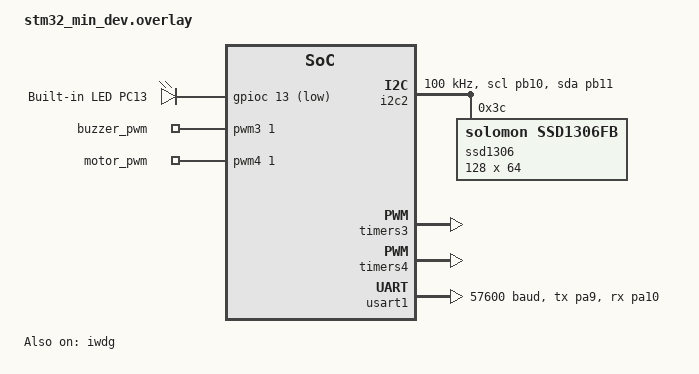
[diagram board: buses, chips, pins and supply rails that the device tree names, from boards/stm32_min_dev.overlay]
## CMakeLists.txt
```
cmake_minimum_required(VERSION 3.20.0)
find_package(Zephyr REQUIRED HINTS $ENV{ZEPHYR_BASE})
project(glove_stm32)

target_include_directories(app PRIVATE
    ${CMAKE_CURRENT_SOURCE_DIR}/include
    ${CMAKE_CURRENT_SOURCE_DIR}/../common/include
)

target_sources(app PRIVATE
    src/main.c
    src/adc_sensor.c
    src/haptic.c
    src/uart_esp32.c
    ../common/src/frame_protocol.c
)

target_compile_definitions(app PRIVATE
    FRAME_SECURE_TX_ID=0x53U  # 'S' = STM32
    FRAME_SECURE_RX_ID=0x45U  # 'E' = ESP32
)
```

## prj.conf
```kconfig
# ===========================================================================
# GloveAssist STM32 - prj.conf
# Board:  stm32_min_dev@blue (STM32F103C8 "Blue Pill")
# Role:   Sensor + Actuator Hub
# ===========================================================================
#
# Phase 1  <- DONE: ADC (4 flex sensors) + UART TX to ESP32
# Phase 2  <- ACTIVE: Heartbeat + CMD RX handler
# Phase 4  <- ACTIVE: OLED SSD1306 I2C2 (PB10/PB11)
# Phase 5  <- ACTIVE: Passive buzzer PWM TIM3_CH1 (PB4) + Motor PWM TIM4_CH1 (PB6)
# Phase 8  : NVS calibration storage
#

# Kernel
CONFIG_MULTITHREADING=y
CONFIG_MAIN_STACK_SIZE=3072
CONFIG_IDLE_STACK_SIZE=256

# GPIO (LED PC13)
CONFIG_GPIO=y

# Hardware watchdog - STM32 IWDG, fed by the main health loop.
CONFIG_WATCHDOG=y

# ADC - disabled: ADC1 is owned by the app via direct register writes
# CONFIG_ADC is not set

# UART - ESP32 communication USART1 (PA9 TX / PA10 RX)
CONFIG_SERIAL=y
CONFIG_UART_INTERRUPT_DRIVEN=y

# I2C - SSD1306 OLED on I2C2 (PB10/PB11)
CONFIG_I2C=y

# Display - SSD1306 OLED driver
CONFIG_DISPLAY=y
CONFIG_SSD1306=y

# PWM - Motor vibratii TIM4_CH1 (PB6)
CONFIG_PWM=y
CONFIG_PWM_STM32=y

# Logging
# USART1 is reserved for ESP32 comm so no UART console backend.
CONFIG_LOG=y
CONFIG_LOG_DEFAULT_LEVEL=2
CONFIG_LOG_MODE_MINIMAL=y
CONFIG_CONSOLE=n
CONFIG_UART_CONSOLE=n
CONFIG_EARLY_CONSOLE=n

# Size optimizations
CONFIG_CBPRINTF_NANO=y
CONFIG_CBPRINTF_COMPLETE=n
CONFIG_SIZE_OPTIMIZATIONS=y
CONFIG_BOOT_BANNER=n
CONFIG_THREAD_NAME=n
CONFIG_ASSERT=n
CONFIG_DEBUG=n
```

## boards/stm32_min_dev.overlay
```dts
/*
 * GloveAssist STM32 Board Overlay
 * Board: stm32_min_dev (STM32F103C8 "Blue Pill")
 *
 * Phase 1 active:
 *   PA0-PA3:  ADC1 channels 0-3 (4 flex sensors)
 *   PA9/PA10: USART1 TX/RX <-> ESP32 UART2 GPIO16/GPIO17
 *   PC13:     Built-in LED (active low)
 * Phase 4 active:
 *   PB10/PB11: I2C2 SCL/SDA -> SSD1306 OLED 128x64 (0x3C)
 * Phase 5 active:
 *   PB4:  Buzzer pasiv (TIM3_CH1 PWM)
 *   PB6:  Motor vibratii (TIM4_CH1 PWM)
 */

#include <zephyr/dt-bindings/pinctrl/stm32f1-pinctrl.h>

/* Keep Phase 1 tight: only ADC1, USART1, GPIO LED are active. */
&usart2 {
	status = "disabled";
};

&usart3 {
	status = "disabled";
};

&i2c1 {
	status = "disabled";
};

/* Phase 4: I2C2 for SSD1306 OLED on PB10(SCL)/PB11(SDA) */
&i2c2 {
	status = "okay";
	pinctrl-0 = <&i2c2_scl_pb10 &i2c2_sda_pb11>;
	pinctrl-names = "default";
	clock-frequency = <I2C_BITRATE_STANDARD>;

	ssd1306: ssd1306@3c {
		compatible = "solomon,ssd1306fb", "solomon,ssd1306";
		reg = <0x3c>;
		width = <128>;
		height = <64>;
		segment-offset = <0>;
		page-offset = <0>;
		display-offset = <0>;
		multiplex-ratio = <63>;
		prechargep = <0x22>;
	};
};

&spi1 {
	status = "disabled";
};

&spi2 {
	status = "disabled";
};

&usb {
	status = "disabled";
};

&timers1 {
	status = "disabled";
};

&iwdg {
	status = "okay";
};

/* Phase 5: TIM4 CH1 for motor vibratii PWM on PB6
 * Prescaler 7 → TIM4 runs at 8 MHz / 8 = 1 MHz.
 * period_ns = 1 000 000 → ARR = 999 → 1 kHz PWM with 1000-step resolution.
 * (Old value 7999 gave 1 kHz tick → ARR = 0 → duty always 0 → motor dead) */
&timers3 {
	status = "okay";
	st,prescaler = <7>;

	pwm3: pwm {
		status = "okay";
		pinctrl-0 = <&glove_tim3_ch1_pwm_out_pb4>;
		pinctrl-names = "default";
		#pwm-cells = <3>;
	};
};

&timers4 {
	status = "okay";
	st,prescaler = <7>;  /* 8MHz / 8 = 1 MHz tick → 1 kHz PWM w/ 1000 steps */

	pwm4: pwm {
		status = "okay";
		pinctrl-0 = <&tim4_ch1_pwm_out_pb6>;
		pinctrl-names = "default";
		#pwm-cells = <3>;
	};
};

/* Most STM32F103C8 Blue Pill boards expose 128 KB flash in practice. */
&flash0 {
	reg = <0x08000000 0x20000>;
};

/* Keep SWD for flashing/debugging, release JTAG pins. */
&pinctrl {
	swj-cfg = "jtag-disable";

	glove_tim3_ch1_pwm_out_pb4: glove_tim3_ch1_pwm_out_pb4 {
		pinmux = <STM32F1_PINMUX('B', 4, ALTERNATE, TIM3_REMAP2)>;
	};
};

/*
 * Many Blue Pill clones (AliExpress STM32F103C8T6) have no HSE crystal
 * populated (Y1 pads empty).  The Zephyr clock driver waits forever for
 * HSERDY, blocking all peripheral init.
 *
 * Fix: disable HSE and PLL, run the system on the internal HSI RC at 8 MHz.
 * USART1 is configured at 57600 baud below; HSI gives enough timing margin
 * for the inter-MCU UART in this prototype.
 */
&clk_hse {
	status = "disabled";
};

&pll {
	status = "disabled";
};

&rcc {
	clocks = <&clk_hsi>;
	clock-frequency = <DT_FREQ_M(8)>;
	apb1-prescaler = <1>;
	apb2-prescaler = <1>;
};

/ {
	aliases {
		led0    = &led_builtin;
		watchdog0 = &iwdg;
		pwm-buzz = &buzzer_pwm;
		pwm-mot = &motor_pwm;  /* must point to pwm consumer, not controller */
	};

	leds {
		compatible = "gpio-leds";

		led_builtin: led_0 {
			gpios = <&gpioc 13 GPIO_ACTIVE_LOW>;
			label = "Built-in LED PC13";
		};
	};

	/* PWM consumer nodes: TIM3_CH1 PB4 buzzer, TIM4_CH1 PB6 motor. */
	haptic_pwms {
		compatible = "pwm-leds";
		buzzer_pwm: buzzer_0 {
			/* channel 1 = TIM3_CH1 on PB4, period is overwritten at runtime */
			pwms = <&pwm3 1 1000000 0>;
		};

		motor_pwm: motor_0 {
			/* channel 1 = TIM4_CH1 (Zephyr pwm_stm32 uses 1-indexed channels 1-4)
			 * period = 1 000 000 ns = 1 ms = 1 kHz, normal polarity */
			pwms = <&pwm4 1 1000000 0>;
		};
	};

};

/*
 * ADC1 is owned exclusively by the application via direct register writes
 * (DMA1 Channel1, circular mode).  Disabling the Zephyr ADC driver node
 * prevents any driver conflict.  PA0-PA3 are configured as analog inputs
 * at runtime by clearing GPIOA->CRL bits [15:0].
 */
&adc1 {
	status = "disabled";
};

&usart1 {
	status = "okay";
	current-speed = <57600>;
	pinctrl-0 = <&usart1_tx_pa9 &usart1_rx_pa10>;
	pinctrl-names = "default";
};
```

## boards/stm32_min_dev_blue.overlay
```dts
/*
 * stm32_min_dev_blue.overlay - Blue Pill variant specifics
 *
 * Adds NVS flash storage partition (last 2 KB of 128 KB flash).
 * Used from Phase 8 onwards for calibration data persistence.
 */

&flash0 {
	reg = <0x08000000 0x20000>;

	partitions {
		compatible = "fixed-partitions";
		#address-cells = <1>;
		#size-cells = <1>;

		/* 2 x 1 KB pages at 0x0801F800-0x0801FFFF */
		storage_partition: partition@1f800 {
			label = "storage";
			reg = <0x0001f800 0x00000800>;
		};
	};
};
```

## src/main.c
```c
/*
 * GloveAssist STM32 — sensor hub main entry point.
 *
 * Role: sensor hub only (ESP32 = brain, STM32 = sensor hub).
 *
 *   PA0..PA3  -> ADC1 DMA circular -> 4 flex sensor values
 *   PA9/PA10  -> USART1 TX/RX <-> ESP32 UART2 (GPIO16/GPIO17)
 *   PC13      -> Built-in LED (active LOW)
 *   PB10/PB11 -> I2C2 SCL/SDA -> SSD1306 OLED 0x3C
 *   PB4       -> TIM3_CH1 PWM -> Passive buzzer (transistor driver)
 *   PB6       -> TIM4_CH1 PWM -> Motor vibration (ULN2003)
 *
 * All actuator logic lives in haptic.c.
 * All UART framing lives in uart_esp32.c.
 * All ADC/DMA init lives in adc_sensor.c.
 */

#include <zephyr/kernel.h>
#include <zephyr/device.h>
#include <zephyr/drivers/watchdog.h>
#include <stdio.h>
#include <string.h>

#include "frame_protocol.h"
#include "adc_sensor.h"
#include "haptic.h"
#include "uart_esp32.h"

/* -- Timing ------------------------------------------------------------ */
#define TX_PERIOD_MS      20U     /* sensor frame TX period (50 Hz)   */
#define HB_PERIOD_MS      500U    /* heartbeat TX period               */
#define LINK_TIMEOUT_MS  3000U    /* no ACK for 3 s -> local warning */
#define LINK_BOOT_GRACE_MS 6000U  /* wait for ESP32 session after reset */
#define DIAG_PERIOD_MS   10000U   /* OLED RX diagnostics period       */
#define FAULT_STATUS_PERIOD_MS 1000U /* report active sensor faults     */
#define WDT_TIMEOUT_MS   2000U    /* FR-009: hardware reset after 2 s */
#define WDT_FEED_MS       500U    /* feed only after the health loop  */

/* -- Link state -------------------------------------------------------- */
typedef enum {
    LINK_NORMAL,
    LINK_UART_LOST,
} link_state_t;

/* ── Module-level state ───────────────────────────────────────────────── */
static uint8_t      s_seq;
static uint8_t      s_hb_seq;
static uint8_t      s_status_seq;
static uint32_t     s_last_sensor_tx;
static uint32_t     s_last_hb_tx;
static uint32_t     s_last_ack_time;
static uint32_t     s_boot_time;
static uint32_t     s_last_diag_tx;
static uint32_t     s_last_fault_status_tx;
static uint32_t     s_last_wdt_feed;
static link_state_t s_link_state = LINK_NORMAL;
static adc_sensor_fault_status_t s_adc_fault;
static const struct device *const s_wdt = DEVICE_DT_GET(DT_ALIAS(watchdog0));
static int s_wdt_channel_id = -1;

/* ── Frame TX helpers ─────────────────────────────────────────────────── */
static void send_sensor_frame(const uint16_t adc[ADC_NUM_CHANNELS])
{
    uint8_t      payload[FRAME_PAYLOAD_LEN] = {0U};
    frame_hmac_t frame;

    frame_make_sensor_payload(payload, adc[0], adc[1], adc[2], adc[3]);
    if (frame_build_hmac(&frame, (uint8_t)FRAME_TYPE_SENSOR_RAW, s_seq++, payload) == 0) {
        uart_esp32_send_hmac_frame(&frame);
    }
}

static void send_heartbeat(void)
{
    uint8_t      payload[FRAME_PAYLOAD_LEN] = {0U};
    frame_hmac_t frame;

    if (frame_build_hmac(&frame, (uint8_t)FRAME_TYPE_HEARTBEAT, s_hb_seq++, payload) == 0) {
        uart_esp32_send_hmac_frame(&frame);
    }
}

static void send_sensor_fault_status(void)
{
    uint8_t      payload[FRAME_PAYLOAD_LEN] = {0U};
    frame_hmac_t frame;

    payload[0] = (uint8_t)STATUS_ERR;
    payload[1] = s_adc_fault.active_mask;
    payload[2] = s_adc_fault.low_mask;
    payload[3] = s_adc_fault.high_mask;

    if (frame_build_hmac(&frame, (uint8_t)FRAME_TYPE_STATUS, s_status_seq++, payload) == 0) {
        uart_esp32_send_hmac_frame(&frame);
    }
}

static void format_sensor_fault_line(char *buf, size_t len)
{
    size_t pos = 0U;
    bool has_low;
    bool has_high;
    int n;

    if ((buf == NULL) || (len == 0U)) {
        return;
    }

    n = snprintf(buf, len, "S");
    if (n > 0) {
        pos = (size_t)n;
    }

    for (uint8_t i = 0U; i < ADC_NUM_CHANNELS; i++) {
        if ((s_adc_fault.active_mask & (uint8_t)(1U << i)) != 0U) {
            if (pos < len) {
                n = snprintf(&buf[pos], len - pos, "%u", (unsigned)(i + 1U));
                if (n > 0) {
                    pos += (size_t)n;
                }
            }
        }
    }

    has_low = (s_adc_fault.low_mask != 0U);
    has_high = (s_adc_fault.high_mask != 0U);
    if (pos < len) {
        if (has_low && has_high) {
            (void)snprintf(&buf[pos], len - pos, " MIX");
        } else if (has_low) {
            (void)snprintf(&buf[pos], len - pos, " LOW");
        } else if (has_high) {
            (void)snprintf(&buf[pos], len - pos, " HIGH");
        }
    }
}

static void show_sensor_fault(void)
{
    char line[16];

    format_sensor_fault_line(line, sizeof(line));
    haptic_post_oled_show("ADC FAULT", line);
}

/* -- Secure UART session handshake ------------------------------------ */
static void tick_session(uint32_t now)
{
    uint32_t nonce;

    if (!uart_esp32_poll_session_hello(&nonce)) {
        return;
    }

    frame_secure_set_session(nonce);
    s_seq            = 0U;
    s_hb_seq         = 0U;
    s_status_seq     = 0U;
    s_link_state     = LINK_NORMAL;
    s_last_sensor_tx = now;
    s_last_hb_tx     = now;
    s_last_ack_time  = now;
    s_last_fault_status_tx = now - FAULT_STATUS_PERIOD_MS;

    haptic_led_set(false);
    if (s_adc_fault.active_mask != 0U) {
        show_sensor_fault();
    } else {
        haptic_post_oled_show("GloveAssist", "Activ");
    }
    uart_esp32_send_session_ack(nonce);
}

/* -- CMD dispatcher: enqueue actuator work, never block the main loop. -- */
static void handle_cmd(const frame_t *f)
{
    switch ((cmd_type_t)f->payload[0]) {

    case CMD_CAREGIVER_ACK:
        /* payload[1] carries the gesture_id that the caregiver is responding to */
        haptic_post_caregiver_ack(f->payload[1]);
        break;

    case CMD_HAPTIC_BUZZ: {
        uint32_t dur = (uint32_t)f->payload[1] * 10U;
        haptic_post_buzzer_beep(1U, (dur > 0U) ? dur : 100U, 0U);
        break;
    }

    case CMD_HAPTIC_VIBRATE: {
        uint32_t dur = (uint32_t)f->payload[1] * 10U;
        haptic_post_motor_pulse(75U, (dur > 0U) ? dur : 150U);
        break;
    }

    case CMD_OLED_TEXT: {
        char text[9] = {0};
        (void)memcpy(text, &f->payload[2], 6U);
        haptic_post_oled_show(text, "GloveAssist");
        break;
    }

    case CMD_GESTURE_FEEDBACK: {
        haptic_post_gesture_feedback(f->payload[1]);
        break;
    }

    case CMD_LED_ACK: {
        uint8_t n = (f->payload[1] > 0U) ? f->payload[1] : 1U;
        haptic_post_led_ack(n);
        break;
    }

    case CMD_OLED_CALIB:
        haptic_post_oled_calib_show(f->payload[1], f->payload[2],
                                    f->payload[3], f->payload[4],
                                    f->payload[5]);
        break;

    case CMD_CALIBRATE:
        haptic_post_oled_show("Calibrare...", "");
        break;

    default:
        break;
    }
}

/* ── Link watchdog helpers ────────────────────────────────────────────── */

static link_state_t handle_uart_lost(uint32_t now)
{
    haptic_led_set(((now % 500U) < 250U));
    return LINK_UART_LOST;
}

static void tick_sensor_tx(uint32_t now, const uint16_t adc[ADC_NUM_CHANNELS])
{
    if (!frame_secure_session_ready()
        || (s_link_state != LINK_NORMAL)
        || (s_adc_fault.active_mask != 0U)
        || ((now - s_last_sensor_tx) < TX_PERIOD_MS)) {
        return;
    }
    s_last_sensor_tx = now;
    send_sensor_frame(adc);
}

static void tick_sensor_fault(uint32_t now, const uint16_t adc[ADC_NUM_CHANNELS])
{
    bool changed = adc_sensor_fault_update(adc, &s_adc_fault);

    if (changed) {
        if (s_adc_fault.active_mask != 0U) {
            show_sensor_fault();
            haptic_post_buzzer_beep(3U, 60U, 60U);
            haptic_post_motor_pulse(80U, 250U);
            s_last_fault_status_tx = now - FAULT_STATUS_PERIOD_MS;
        } else {
            haptic_post_oled_show("SENSOR OK", "Reluat");
            haptic_post_buzzer_beep(1U, 90U, 0U);
            if (frame_secure_session_ready() && (s_link_state == LINK_NORMAL)) {
                send_sensor_fault_status();
            }
            s_last_sensor_tx = now;
        }
    }

    if ((s_adc_fault.active_mask != 0U)
        && frame_secure_session_ready()
        && (s_link_state == LINK_NORMAL)
        && ((now - s_last_fault_status_tx) >= FAULT_STATUS_PERIOD_MS)) {
        s_last_fault_status_tx = now;
        show_sensor_fault();
        send_sensor_fault_status();
    }
}

static void tick_heartbeat(uint32_t now)
{
    if (!frame_secure_session_ready()
        || (s_link_state != LINK_NORMAL)
        || ((now - s_last_hb_tx) < HB_PERIOD_MS)) {
        return;
    }
    s_last_hb_tx = now;
    send_heartbeat();
}

static void tick_link_watchdog(uint32_t now, const uint16_t adc[ADC_NUM_CHANNELS])
{
    ARG_UNUSED(adc);

    if (!frame_secure_session_ready()) {
        if ((now - s_boot_time) < LINK_BOOT_GRACE_MS) {
            return;
        }
        if (s_link_state == LINK_NORMAL) {
            s_link_state = LINK_UART_LOST;
            haptic_post_oled_show("Astept ESP32", "UART offline");
            haptic_post_buzzer_beep(2U, 200U, 100U);
        }
        s_link_state = handle_uart_lost(now);
        return;
    }

    if (uart_esp32_poll_ack()) {
        s_last_ack_time = now;
        if (s_link_state != LINK_NORMAL) {
            s_link_state = LINK_NORMAL;
            haptic_led_set(false);
            if (s_adc_fault.active_mask != 0U) {
                show_sensor_fault();
            } else {
                haptic_post_oled_show("GloveAssist", "Activ");
            }
            haptic_post_buzzer_beep(1U, 100U, 0U);
        }
        haptic_led_toggle();
        return;
    }

    if ((s_link_state == LINK_NORMAL)
        && ((now - s_last_ack_time) >= LINK_TIMEOUT_MS)) {
        s_link_state = LINK_UART_LOST;
        haptic_post_oled_show("Link pierdut!", "Astept ESP32");
        haptic_post_buzzer_beep(2U, 200U, 100U);
    }

    if (s_link_state != LINK_NORMAL) {
        s_link_state = handle_uart_lost(now);
    }
}

static void tick_cmd(void)
{
    if (uart_esp32_poll_bad_cmd()) {
        /* Auth/SOF failures are UART/security diagnostics. Do not overwrite
         * the patient-facing OLED while the valid gesture path is healthy. */
        (void)0;
    }

    frame_t cmd;
    if (!uart_esp32_poll_cmd(&cmd)) {
        return;
    }
    handle_cmd(&cmd);
}

/* ── Boot sequence ────────────────────────────────────────────────────── */

/* -- Hardware watchdog (STM32 IWDG) ----------------------------------- */
static void safety_watchdog_init(void)
{
    struct wdt_timeout_cfg cfg = {
        .flags = WDT_FLAG_RESET_SOC,
        .window = {
            .min = 0U,
            .max = WDT_TIMEOUT_MS,
        },
        .callback = NULL,
    };
    int rc;

    if (!device_is_ready(s_wdt)) {
        haptic_oled_show("WDT ERROR", "not ready");
        return;
    }

    s_wdt_channel_id = wdt_install_timeout(s_wdt, &cfg);
    if (s_wdt_channel_id < 0) {
        haptic_oled_show("WDT ERROR", "install");
        return;
    }

    rc = wdt_setup(s_wdt, 0U);
    if (rc < 0) {
        s_wdt_channel_id = -1;
        haptic_oled_show("WDT ERROR", "setup");
        return;
    }

    s_last_wdt_feed = k_uptime_get_32();
    (void)wdt_feed(s_wdt, s_wdt_channel_id);
}

static void safety_watchdog_feed(uint32_t now)
{
    int rc;

    if ((s_wdt_channel_id < 0)
        || ((now - s_last_wdt_feed) < WDT_FEED_MS)) {
        return;
    }

    rc = wdt_feed(s_wdt, s_wdt_channel_id);
    if (rc == 0) {
        s_last_wdt_feed = now;
    }
}

/* -- Boot sequence ----------------------------------------------------- */
static void boot_sequence(void)
{
    for (uint8_t i = 0U; i < 3U; i++) {
        haptic_led_set(true);  k_msleep(100U);
        haptic_led_set(false); k_msleep(100U);
    }
    haptic_boot_melody();
    haptic_oled_show("GloveAssist", "Activ");
}

/* ── Entry point ──────────────────────────────────────────────────────── */

int main(void)
{
    uart_esp32_init();
    adc_sensor_init();
    adc_sensor_fault_reset();
    haptic_init();
    boot_sequence();
    safety_watchdog_init();

    s_boot_time      = k_uptime_get_32();
    s_last_sensor_tx = s_boot_time;
    s_last_hb_tx     = s_boot_time;
    s_last_ack_time  = s_boot_time;
    s_last_diag_tx   = s_boot_time;
    s_last_fault_status_tx = s_boot_time;

    while (1) {
        uint16_t adc[ADC_NUM_CHANNELS];
        adc_sensor_read(adc);
        uint32_t now = k_uptime_get_32();

        tick_session(now);
        tick_sensor_fault(now, adc);
        tick_sensor_tx(now, adc);
        tick_heartbeat(now);
        tick_link_watchdog(now, adc);
        tick_cmd();

        /* Drain RX diagnostic counters every 10 s to prevent u8 wrap-around. */
        if ((now - s_last_diag_tx) >= DIAG_PERIOD_MS) {
            s_last_diag_tx = now;
            uint8_t cmds, bad, bad_cmd;
            uart_esp32_get_rx_diag(&cmds, &bad, &bad_cmd);
            (void)cmds; (void)bad; (void)bad_cmd;
        }

        if ((s_link_state == LINK_NORMAL) && (s_adc_fault.active_mask == 0U)) {
            haptic_oled_idle_tick();
        }

        safety_watchdog_feed(now);
        k_msleep(1U);
    }
}
```

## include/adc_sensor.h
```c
/*
 * adc_sensor.h — ADC1 + DMA1 acquisition (4 flex sensors PA0..PA3).
 *
 * Uses direct register writes — no Zephyr ADC driver needed.
 * The ADC node in the overlay is intentionally disabled to avoid conflicts.
 */

#ifndef ADC_SENSOR_H_
#define ADC_SENSOR_H_

#include <stdint.h>
#include <stdbool.h>

#define ADC_NUM_CHANNELS 4U

/*
 * Sensor fault detection thresholds.
 *
 * Detect only rail-level wiring faults, not valid bent-finger gestures.
 * Calibration shows normal bent values can be around 40..200 ADC counts, so
 * the LOW threshold must stay well below that range.  Values near 0 are treated
 * as short-to-GND candidates; values near full-scale are treated as short-to-3V3
 * candidates.  Counts are consecutive samples from the STM32 main loop.
 */
#define ADC_SENSOR_FAULT_LOW_THRESHOLD    20U
#define ADC_SENSOR_FAULT_HIGH_THRESHOLD 4080U
#define ADC_SENSOR_FAULT_ASSERT_COUNT    100U
#define ADC_SENSOR_FAULT_RECOVER_COUNT   200U

typedef struct {
    uint8_t active_mask; /* bit i = channel i is currently faulted */
    uint8_t low_mask;    /* bit i = channel i faulted low/near GND  */
    uint8_t high_mask;   /* bit i = channel i faulted high/near VCC */
} adc_sensor_fault_status_t;

/**
 * @brief Initialise ADC1 with DMA1 circular mode for 4 channels (PA0..PA3).
 *        Must be called once from main() before the main loop.
 */
void adc_sensor_init(void);

/**
 * @brief Copy the latest DMA-captured ADC values into @p out[ADC_NUM_CHANNELS].
 *        Safe to call from the main loop while DMA runs continuously.
 */
void adc_sensor_read(uint16_t out[ADC_NUM_CHANNELS]);

/**
 * @brief Reset per-channel fault debounce state.
 */
void adc_sensor_fault_reset(void);

/**
 * @brief Update per-channel fault debounce/recovery state from latest samples.
 *
 * @param sample Latest ADC values [index, middle, ring, pinky].
 * @param status Optional output copy of current fault state.
 * @return true if active fault masks changed since the previous call.
 */
bool adc_sensor_fault_update(const uint16_t sample[ADC_NUM_CHANNELS],
                             adc_sensor_fault_status_t *status);

/**
 * @brief Copy current fault state into @p status.
 */
void adc_sensor_fault_get(adc_sensor_fault_status_t *status);

#endif /* ADC_SENSOR_H_ */
```

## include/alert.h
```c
#ifndef ALERT_H
#define ALERT_H

#include <stdbool.h>
#include <stdint.h>

/**
 * GPIO emergency backup channel — STM32 side.
 *
 * Hardware:
 *   PB0 (ALERT_OUT) -> wire -> ESP32 GPIO18 (ALERT_IN)
 *   PB1 (ACK_IN)    <- wire <- ESP32 GPIO19 (ACK_OUT)
 *
 * Protocol:
 *   STM32 sets ALERT high when UART is lost + critical gesture detected.
 *   STM32 holds ALERT high until ACK pin goes high or timeout (10 s).
 *   ESP32 reads ALERT, sends BLE emergency, then raises ACK for 200 ms.
 */

/** Initialise GPIO pins — call once during boot. */
void alert_init(void);

/** Assert ALERT line (PB0 high). */
void alert_raise(void);

/** De-assert ALERT line (PB0 low). */
void alert_clear(void);

/** Return true if ACK line (PB1) is currently high. */
bool alert_ack_received(void);

/**
 * Minimal local gesture classifier for critical gestures.
 * Only used when UART link is lost (no ESP32 side classification).
 *
 * Returns true if adc[] represents the HELP gesture
 * (all four fingers bent above FLEX_THRESH = 2048).
 * Mirrors GESTURE_HELP classification on the ESP32 side.
 * Threshold: 2048 (mid-scale 12-bit ADC).
 */
bool alert_is_help_gesture(const uint16_t adc[4]);

#endif /* ALERT_H */
```

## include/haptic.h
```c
/*
 * haptic.h - STM32 actuator and display interface.
 *
 * Controls:
 *   OLED SSD1306 128x64 via Zephyr Display API (I2C2 PB10/PB11)
 *   Motor vibration via hardware PWM TIM4_CH1 (PB6)
 *   Passive buzzer via hardware PWM TIM3_CH1 (PB4)
 *   Built-in LED (PC13, active-low)
 */

#ifndef HAPTIC_H_
#define HAPTIC_H_

#include <stdint.h>
#include <stdbool.h>

/** @brief Initialise all actuators. Must be called once from main. */
void haptic_init(void);

/*
 * Async interface used by the STM32 main/UART path.
 * These functions enqueue work for the haptic thread and return immediately.
 */
void haptic_post_oled_show(const char *line1, const char *line2);
void haptic_post_buzzer_beep(uint8_t count, uint32_t pulse_ms, uint32_t gap_ms);
void haptic_post_motor_pulse(uint32_t duty_pct, uint32_t dur_ms);
void haptic_post_caregiver_ack(uint8_t gesture_id);
void haptic_post_gesture_feedback(uint8_t gesture_id);
void haptic_post_led_ack(uint8_t count);
void haptic_post_bad_cmd_diag(void);
void haptic_post_oled_calib_show(uint8_t state, uint8_t idx, uint8_t mid,
                                 uint8_t rng, uint8_t pnk);

/** @brief Show up to two text lines on the SSD1306 OLED, pages 0 and 2. */
void haptic_oled_show(const char *line1, const char *line2);

/**
 * @brief Show four text lines on OLED pages 0, 2, 4 and 6.
 *
 * Passing NULL for a line leaves that row empty.
 */
void haptic_oled_show4(const char *l0, const char *l2,
                       const char *l4, const char *l6);

/**
 * @brief OLED idle tick called from the STM32 main loop.
 *
 * After 30 s without an OLED activity update, it restores
 * "GloveAssist / Activ" using raw flush so the activity timer is not reset.
 */
void haptic_oled_idle_tick(void);

/** @brief Generate a hardware PWM tone at @p freq_hz Hz for @p duration_ms ms. */
void haptic_tone(uint32_t freq_hz, uint32_t duration_ms);

/** @brief Beep the passive buzzer @p count times. */
void haptic_buzzer_beep(uint8_t count, uint32_t pulse_ms, uint32_t gap_ms);

/** @brief Play boot-up welcome melody. */
void haptic_boot_melody(void);

/** @brief Set motor PWM duty cycle continuously, 0 = off, 100 = full. */
void haptic_motor_duty(uint32_t duty_pct);

/** @brief Run motor at @p duty_pct for @p dur_ms ms, then stop. */
void haptic_motor_pulse(uint32_t duty_pct, uint32_t dur_ms);

/**
 * @brief Play the full caregiver-ACK feedback sequence.
 *
 * Shows a gesture-specific confirmation on OLED, plays an ascending melody,
 * and runs a dit-dit-DIT motor pattern.
 */
void haptic_caregiver_ack(uint8_t gesture_id);

/**
 * @brief Play per-gesture haptic + OLED feedback.
 *
 * WATER: one calm pulse.
 * WC:    two clear pulses.
 * FOOD:  three increasing pulses.
 * HELP:  alarm pattern and stronger motor feedback.
 */
void haptic_gesture_feedback(uint8_t gesture_id);

/** @brief Set built-in LED. Polarity is handled internally. */
void haptic_led_set(bool on);

/** @brief Toggle built-in LED. */
void haptic_led_toggle(void);

/**
 * @brief Show live calibration display on all 4 OLED rows.
 *
 * @param state  phase * 4 + step, phase 0..4 = NONE/WATER/WC/FOOD/HELP.
 * @param idx    Index finger ADC >> 4.
 * @param mid    Middle finger ADC >> 4.
 * @param rng    Ring finger ADC >> 4.
 * @param pnk    Pinky finger ADC >> 4.
 */
void haptic_oled_calib_show(uint8_t state, uint8_t idx, uint8_t mid,
                            uint8_t rng, uint8_t pnk);

#endif /* HAPTIC_H_ */
```

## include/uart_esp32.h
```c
/*
 * uart_esp32.h — STM32 UART communication with ESP32.
 *
 * USART1: PA9 TX → ESP32 GPIO16 RX
 *         PA10 RX ← ESP32 GPIO17 TX
 * Baud: 57600, 8N1
 *
 * Design:
 *   TX: interrupt-driven FIFO fill (non-blocking send).
 *   RX: ISR queues raw bytes; a UART RX thread parses/authenticates frames.
 */

#ifndef UART_ESP32_H_
#define UART_ESP32_H_

#include <stdbool.h>
#include "frame_protocol.h"

/** @brief Initialise USART1 interrupt-driven TX and threaded RX. */
void uart_esp32_init(void);

/** @brief Send one HMAC-authenticated frame over USART1 (drops silently if TX busy). */
void uart_esp32_send_hmac_frame(const frame_hmac_t *frame);

/** @brief Send HMAC-only SESSION_ACK to ESP32. */
void uart_esp32_send_session_ack(uint32_t session_nonce);

/**
 * @brief Poll one pending SESSION_HELLO nonce from ESP32.
 */
bool uart_esp32_poll_session_hello(uint32_t *session_nonce);

/**
 * @brief Non-blocking poll: returns true if a STATUS_ACK or HEARTBEAT frame
 *        has been received since the last call. Clears the flag on return.
 */
bool uart_esp32_poll_ack(void);

/**
 * @brief Non-blocking poll: returns true if a COMMAND frame is pending.
 *        Copies the frame into @p out and clears the pending flag.
 *        Use irq_lock internally — safe to call from the main loop.
 */
bool uart_esp32_poll_cmd(frame_t *out);

/**
 * @brief Returns diagnostic counters. All counters reset to 0 after read.
 *   cmds          : good COMMAND frames received
 *   bad_frames    : all frames failing authentication/SOF checks
 *   bad_cmd_frames: bad frames whose type byte == FRAME_TYPE_COMMAND
 */
void uart_esp32_get_rx_diag(uint8_t *cmds, uint8_t *bad_frames,
                             uint8_t *bad_cmd_frames);

/**
 * @brief Returns true once if a CMD-type frame failed authentication since
 *        the last call.  Instant feedback — does not wait 10 s for the diag.
 */
bool uart_esp32_poll_bad_cmd(void);

#endif /* UART_ESP32_H_ */
```

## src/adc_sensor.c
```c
/*
 * adc_sensor.c — ADC1 + DMA1 circular acquisition for 4 flex sensors.
 *
 * PA0 = index finger, PA1 = middle, PA2 = ring, PA3 = pinky.
 * 12-bit resolution, internal reference, 55.5-cycle sample time.
 * DMA1 Channel1 in circular mode writes continuously to s_adc[4].
 */

#include <zephyr/kernel.h>
#include <soc.h>
#include <string.h>
#include "adc_sensor.h"

static volatile uint16_t s_adc[ADC_NUM_CHANNELS];

static uint8_t s_bad_count[ADC_NUM_CHANNELS];
static uint8_t s_good_count[ADC_NUM_CHANNELS];
static adc_sensor_fault_status_t s_fault;

void adc_sensor_init(void)
{
    /* ── Clocks ──────────────────────────────────────────────────── */
    RCC->APB2ENR |= RCC_APB2ENR_IOPAEN | RCC_APB2ENR_ADC1EN;
    RCC->AHBENR  |= RCC_AHBENR_DMA1EN;

    /* ADC prescaler: /4  →  8 MHz HSI / 4 = 2 MHz (< 14 MHz limit) */
    RCC->CFGR = (RCC->CFGR & ~(3U << 14U)) | (2U << 14U);

    /* ── PA0..PA3 → analog (CRL bits [15:0] = 0) ─────────────────── */
    GPIOA->CRL &= ~0x0000FFFFu;

    /* ── DMA1 Channel1 for ADC1 DR ────────────────────────────────── */
    DMA1_Channel1->CCR   = 0U;
    DMA1_Channel1->CPAR  = (uint32_t)&ADC1->DR;
    DMA1_Channel1->CMAR  = (uint32_t)s_adc;
    DMA1_Channel1->CNDTR = ADC_NUM_CHANNELS;
    DMA1_Channel1->CCR   = DMA_CCR_CIRC    /* circular mode          */
                         | DMA_CCR_MINC    /* memory increment       */
                         | DMA_CCR_MSIZE_0 /* 16-bit memory transfers*/
                         | DMA_CCR_PSIZE_0 /* 16-bit periph transfers*/
                         | DMA_CCR_EN;

    /* ── ADC1: scan + continuous + DMA + SW trigger ───────────────── */
    ADC1->CR1  = ADC_CR1_SCAN;
    ADC1->CR2  = ADC_CR2_CONT
               | ADC_CR2_DMA
               | (7U << 17U)       /* EXTSEL = SWSTART               */
               | ADC_CR2_EXTTRIG;

    ADC1->SMPR2 = 0x00000B6DU;     /* SMP[2:0]=5 = 55.5 cycles CH0..CH3  */
                                    /* 0xB6D = 0b101_101_101_101       */
    ADC1->SQR1  = (3U << 20U);     /* sequence length = 4            */
    ADC1->SQR3  = (0U <<  0U) | (1U <<  5U) | (2U << 10U) | (3U << 15U);

    /* ── Power on → calibrate → start ────────────────────────────── */
    ADC1->CR2 |= ADC_CR2_ADON;
    k_busy_wait(10U);

    ADC1->CR2 |= ADC_CR2_RSTCAL;
    for (uint32_t t = 0U; t < 100000U && (ADC1->CR2 & ADC_CR2_RSTCAL); t++) {}

    ADC1->CR2 |= ADC_CR2_CAL;
    for (uint32_t t = 0U; t < 100000U && (ADC1->CR2 & ADC_CR2_CAL); t++) {}

    ADC1->CR2 |= ADC_CR2_SWSTART;
}

void adc_sensor_read(uint16_t out[ADC_NUM_CHANNELS])
{
    for (uint8_t i = 0U; i < ADC_NUM_CHANNELS; i++) {
        out[i] = s_adc[i];
    }
}

void adc_sensor_fault_reset(void)
{
    (void)memset(s_bad_count, 0, sizeof(s_bad_count));
    (void)memset(s_good_count, 0, sizeof(s_good_count));
    (void)memset(&s_fault, 0, sizeof(s_fault));
}

void adc_sensor_fault_get(adc_sensor_fault_status_t *status)
{
    if (status != NULL) {
        *status = s_fault;
    }
}

bool adc_sensor_fault_update(const uint16_t sample[ADC_NUM_CHANNELS],
                             adc_sensor_fault_status_t *status)
{
    uint8_t old_active = s_fault.active_mask;
    uint8_t old_low = s_fault.low_mask;
    uint8_t old_high = s_fault.high_mask;

    if (sample == NULL) {
        adc_sensor_fault_get(status);
        return false;
    }

    for (uint8_t i = 0U; i < ADC_NUM_CHANNELS; i++) {
        uint8_t bit = (uint8_t)(1U << i);
        bool low = (sample[i] <= ADC_SENSOR_FAULT_LOW_THRESHOLD);
        bool high = (sample[i] >= ADC_SENSOR_FAULT_HIGH_THRESHOLD);
        bool bad = low || high;
        bool active = ((s_fault.active_mask & bit) != 0U);

        if (bad) {
            s_good_count[i] = 0U;
            if (s_bad_count[i] < ADC_SENSOR_FAULT_ASSERT_COUNT) {
                s_bad_count[i]++;
            }
            if (s_bad_count[i] >= ADC_SENSOR_FAULT_ASSERT_COUNT) {
                s_fault.active_mask |= bit;
                if (low) {
                    s_fault.low_mask |= bit;
                    s_fault.high_mask &= (uint8_t)~bit;
                } else {
                    s_fault.high_mask |= bit;
                    s_fault.low_mask &= (uint8_t)~bit;
                }
            }
            continue;
        }

        s_bad_count[i] = 0U;
        if (active) {
            if (s_good_count[i] < ADC_SENSOR_FAULT_RECOVER_COUNT) {
                s_good_count[i]++;
            }
            if (s_good_count[i] >= ADC_SENSOR_FAULT_RECOVER_COUNT) {
                s_fault.active_mask &= (uint8_t)~bit;
                s_fault.low_mask &= (uint8_t)~bit;
                s_fault.high_mask &= (uint8_t)~bit;
                s_good_count[i] = 0U;
            }
        } else {
            s_good_count[i] = 0U;
        }
    }

    adc_sensor_fault_get(status);
    return (old_active != s_fault.active_mask)
        || (old_low != s_fault.low_mask)
        || (old_high != s_fault.high_mask);
}
```

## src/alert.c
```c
#include "alert.h"

#include <zephyr/kernel.h>
#include <zephyr/drivers/gpio.h>
#include <zephyr/logging/log.h>

LOG_MODULE_REGISTER(alert, LOG_LEVEL_INF);

/* ADC threshold for HELP gesture detection (mid-scale 12-bit). */
static const uint16_t ALERT_FLEX_THRESH = 2048U;

/* DT aliases defined in overlay:
 *   alert-out -> PB0 (ALERT output to ESP32)
 *   alert-in  -> PB1 (ACK  input from ESP32)
 */
#define ALERT_OUT_NODE DT_ALIAS(alert_out)
#define ALERT_IN_NODE  DT_ALIAS(alert_in)

static const struct gpio_dt_spec s_alert_out =
    GPIO_DT_SPEC_GET(ALERT_OUT_NODE, gpios);
static const struct gpio_dt_spec s_alert_in =
    GPIO_DT_SPEC_GET(ALERT_IN_NODE, gpios);

void alert_init(void)
{
    if (!gpio_is_ready_dt(&s_alert_out)) {
        LOG_ERR("ALERT_OUT (PB0) not ready");
        return;
    }
    if (!gpio_is_ready_dt(&s_alert_in)) {
        LOG_ERR("ALERT_IN (PB1) not ready");
        return;
    }

    (void)gpio_pin_configure_dt(&s_alert_out, GPIO_OUTPUT_INACTIVE);
    (void)gpio_pin_configure_dt(&s_alert_in,  GPIO_INPUT | GPIO_PULL_DOWN);

    LOG_INF("Alert GPIO init OK (PB0=OUT PB1=IN)");
}

void alert_raise(void)
{
    (void)gpio_pin_set_dt(&s_alert_out, 1);
}

void alert_clear(void)
{
    (void)gpio_pin_set_dt(&s_alert_out, 0);
}

bool alert_ack_received(void)
{
    return (gpio_pin_get_dt(&s_alert_in) > 0);
}

bool alert_is_help_gesture(const uint16_t adc[4])
{
    /* HELP = full fist: all 4 fingers bent above ALERT_FLEX_THRESH.
     * Mirrors GESTURE_HELP (ALL_FINGERS bent) in gesture.c on ESP32 side. */
    return ((adc[0] > ALERT_FLEX_THRESH)
            && (adc[1] > ALERT_FLEX_THRESH)
            && (adc[2] > ALERT_FLEX_THRESH)
            && (adc[3] > ALERT_FLEX_THRESH));
}
```

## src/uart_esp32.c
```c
/*
 * uart_esp32.c — UART communication with ESP32 (USART1).
 *
 * TX: interrupt-driven FIFO fill.
 * RX: ISR queues raw bytes; uart_rx_thread parses/authenticates frames and sets:
 *     - s_ack_received: STATUS_ACK or HEARTBEAT (link alive)
 *     - s_cmd_msgq: COMMAND frames queued for main loop
 *
 * Crypto/HMAC stays outside the ISR; command frames are deferred to the main
 * loop via poll_cmd().
 */

#include <zephyr/kernel.h>
#include <zephyr/drivers/uart.h>
#include <string.h>
#include "frame_protocol.h"
#include "uart_esp32.h"

static const struct device *const s_uart = DEVICE_DT_GET(DT_NODELABEL(usart1));

#define UART_RX_BYTE_QUEUE_LEN    256U
#define UART_RX_THREAD_STACK_SIZE 2048U
#define UART_RX_THREAD_PRIORITY   1

/* ── TX state ─────────────────────────────────────────────────────────── */
static volatile uint8_t s_tx_busy;
static uint8_t          s_tx_buf[FRAME_HMAC_SIZE];
static volatile uint8_t s_tx_len;
static volatile uint8_t s_tx_pos;

/* ── RX state ─────────────────────────────────────────────────────────── */
static frame_hmac_parser_t s_parser;
static volatile bool       s_ack_received;  /* STATUS_ACK or HEARTBEAT seen  */
static volatile bool       s_session_ready; /* SESSION_HELLO pending         */
static uint32_t            s_pending_session_nonce;

K_MSGQ_DEFINE(s_rx_byte_msgq, sizeof(uint8_t), UART_RX_BYTE_QUEUE_LEN, 1);
K_MSGQ_DEFINE(s_cmd_msgq, sizeof(frame_t), 8, 4);

/* ── RX diagnostics (ISR-updated, main reads) ────────────────────────── */
static volatile uint8_t s_rx_cmd_count;     /* total COMMAND frames received  */
static volatile uint8_t s_rx_bad_count;     /* frames failing auth/SOF check  */
static volatile uint8_t s_rx_bad_cmd_count; /* bad frames whose type == CMD   */
static volatile bool    s_bad_cmd_seen;     /* instant-poll flag              */

static void uart_rx_thread(void *a, void *b, void *c);
K_THREAD_DEFINE(s_uart_rx_tid, UART_RX_THREAD_STACK_SIZE, uart_rx_thread,
                NULL, NULL, NULL, UART_RX_THREAD_PRIORITY, 0, 0);

static void handle_received_frame(const frame_hmac_t *received)
{
    switch ((frame_type_t)received->base.type) {
    case FRAME_TYPE_STATUS:
        if (received->base.payload[0] == (uint8_t)STATUS_ACK) {
            s_ack_received = true;
        }
        break;
    case FRAME_TYPE_HEARTBEAT:
        s_ack_received = true;
        break;
    case FRAME_TYPE_COMMAND:
        s_rx_cmd_count++;
        if (k_msgq_put(&s_cmd_msgq, &received->base, K_NO_WAIT) != 0) {
            frame_t dropped;

            (void)k_msgq_get(&s_cmd_msgq, &dropped, K_NO_WAIT);
            (void)k_msgq_put(&s_cmd_msgq, &received->base, K_NO_WAIT);
        }
        break;
    case FRAME_TYPE_SESSION:
        if (received->base.payload[0] == (uint8_t)SESSION_HELLO) {
            s_pending_session_nonce = frame_get_counter(&received->base);
            s_session_ready = true;
            frame_hmac_parser_init(&s_parser);
            k_msgq_purge(&s_rx_byte_msgq);
        }
        break;
    default:
        break;
    }
}

static void uart_rx_thread(void *a, void *b, void *c)
{
    ARG_UNUSED(a);
    ARG_UNUSED(b);
    ARG_UNUSED(c);

    while (true) {
        uint8_t byte;
        frame_hmac_t received;

        (void)k_msgq_get(&s_rx_byte_msgq, &byte, K_FOREVER);

        int rc = frame_hmac_parser_push_byte(&s_parser, byte, &received);
        if (rc == -2) {
            s_rx_bad_count++; /* HMAC/counter/SOF failure */
            if (received.base.type == (uint8_t)FRAME_TYPE_COMMAND) {
                s_rx_bad_cmd_count++;
                s_bad_cmd_seen = true;
            }
        } else if (rc == 1) {
            handle_received_frame(&received);
        }
    }
}

/* ── ISR ──────────────────────────────────────────────────────────────── */
static void uart_isr(const struct device *dev, void *user_data)
{
    (void)user_data;

    if (!uart_irq_update(dev)) {
        return;
    }

    /* ── RX ────────────────────────────────────────────────────────── */
    if (uart_irq_rx_ready(dev)) {
        uint8_t bytes[16];
        int rx;

        while ((rx = uart_fifo_read(dev, bytes, (int)sizeof(bytes))) > 0) {
            for (int i = 0; i < rx; i++) {
                if (k_msgq_put(&s_rx_byte_msgq, &bytes[i], K_NO_WAIT) != 0) {
                    uint8_t dropped;

                    s_rx_bad_count++;
                    (void)k_msgq_get(&s_rx_byte_msgq, &dropped, K_NO_WAIT);
                    (void)k_msgq_put(&s_rx_byte_msgq, &bytes[i], K_NO_WAIT);
                }
            }
        }
    }

    /* ── TX ────────────────────────────────────────────────────────── */
    if (uart_irq_tx_ready(dev)) {
        while ((s_tx_busy != 0U) && (s_tx_pos < s_tx_len)) {
            int sent = uart_fifo_fill(dev, &s_tx_buf[s_tx_pos],
                                      (int)(s_tx_len - s_tx_pos));
            if (sent <= 0) {
                break;
            }
            s_tx_pos = (uint8_t)(s_tx_pos + (uint8_t)sent);
        }
        if ((s_tx_busy != 0U) && (s_tx_pos >= s_tx_len)) {
            uart_irq_tx_disable(dev);
            s_tx_busy = 0U;
        }
    }
}

/* ── Public API ───────────────────────────────────────────────────────── */

void uart_esp32_init(void)
{
    if (!device_is_ready(s_uart)) {
        return;
    }
    k_msgq_purge(&s_rx_byte_msgq);
    frame_hmac_parser_init(&s_parser);
    uart_irq_callback_user_data_set(s_uart, uart_isr, NULL);
    uart_irq_rx_enable(s_uart);
}

void uart_esp32_send_hmac_frame(const frame_hmac_t *frame)
{
    if (frame == NULL) {
        return;
    }
    if (s_tx_busy != 0U) {
        return; /* drop: TX already in progress */
    }
    (void)memcpy(s_tx_buf, frame, FRAME_HMAC_SIZE);
    s_tx_len  = (uint8_t)FRAME_HMAC_SIZE;
    s_tx_pos  = 0U;
    s_tx_busy = 1U;
    uart_irq_tx_enable(s_uart);
}

void uart_esp32_send_session_ack(uint32_t session_nonce)
{
    static uint8_t session_seq;
    frame_hmac_t frame;

    if (frame_build_session(&frame, session_seq++,
                            (uint8_t)SESSION_ACK,
                            session_nonce) == 0) {
        uart_esp32_send_hmac_frame(&frame);
    }
}

bool uart_esp32_poll_session_hello(uint32_t *session_nonce)
{
    unsigned int key = irq_lock();
    bool ready = s_session_ready;

    if (ready) {
        if (session_nonce != NULL) {
            *session_nonce = s_pending_session_nonce;
        }
        s_session_ready = false;
    }

    irq_unlock(key);
    return ready;
}

bool uart_esp32_poll_ack(void)
{
    if (!s_ack_received) {
        return false;
    }
    s_ack_received = false;
    return true;
}

bool uart_esp32_poll_cmd(frame_t *out)
{
    if (out == NULL) {
        return false;
    }

    return (k_msgq_get(&s_cmd_msgq, out, K_NO_WAIT) == 0);
}

void uart_esp32_get_rx_diag(uint8_t *cmds, uint8_t *bad_frames,
                             uint8_t *bad_cmd_frames)
{
    unsigned int key = irq_lock();
    *cmds           = s_rx_cmd_count;       s_rx_cmd_count     = 0U;
    *bad_frames     = s_rx_bad_count;       s_rx_bad_count     = 0U;
    *bad_cmd_frames = s_rx_bad_cmd_count;   s_rx_bad_cmd_count = 0U;
    irq_unlock(key);
}

bool uart_esp32_poll_bad_cmd(void)
{
    unsigned int key = irq_lock();
    bool seen = s_bad_cmd_seen;
    s_bad_cmd_seen = false;
    irq_unlock(key);
    return seen;
}
```
